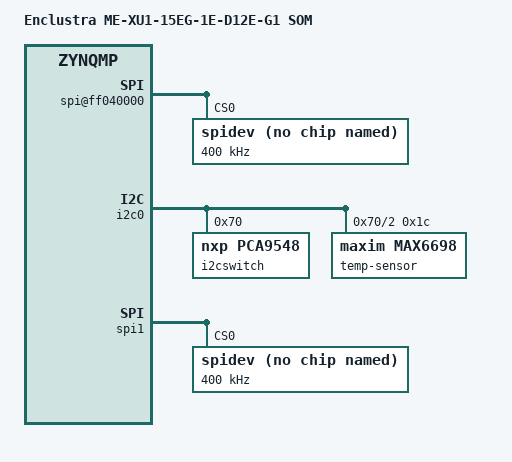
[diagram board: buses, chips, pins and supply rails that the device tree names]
/include/ "system-conf.dtsi"
/ {
	model = "Enclustra ME-XU1-15EG-1E-D12E-G1 SOM";
	aliases {
		spi2 = "/amba/spi@ff040000";
	};
};
#include "zynqmp_enclustra_common.dtsi"
#include "zynqmp_enclustra_mercury_st1.dtsi"
#include "zynqmp_enclustra_mercury_xu1.dtsi"

/ {
	amba {
           spi@ff040000 {
            spidev@0 {
				compatible = "spidev";
				reg = <0>;
				//spi-cs-high;
				spi-max-frequency = <400000>;
    		};
        };
	};
};

&i2c0 {
	i2cswitch@70 {
		    	compatible = "nxp,pca9548";
			 	#address-cells = <1>;
		    	#size-cells = <0>;
		        reg = <0x70>;
				i2c@0{
					#address-cells = <1>;
					#size-cells = <0>;
					reg = <0>;
					// ina226@40 {
					// 	compatible = "ti,ina226";
					// 	reg = <0x40>;
					// 	shunt-resistor = <5000>;
					// 	};
					// ina226@44 {
					// 	compatible = "ti,ina226";
					// 	reg = <0x44>;
					// 	shunt-resistor = <5000>;
					// 	};
					// ina226@41 {
					// 	compatible = "ti,ina226";
					// 	reg = <0x41>;
					// 	shunt-resistor = <1000>;
					// 	};
					// ina226@45 {
					// 	compatible = "ti,ina226";
					// 	reg = <0x45>;
					// 	shunt-resistor = <1000>;
					// 	};
				};
				i2c@2{
					#address-cells = <1>;
					#size-cells = <0>;
					reg = <2>;
					temp-sensor@1c {
						compatible = "maxim,max6698";
						reg = <0x1c>;
						smbus-timeout-disable;
						resistance-cancellation;
						alert-mask = <0x72>;
						over-temperature-mask = <0x7f>;
					};
				};
	};
};


&spi1 { 
        spidev@0 {
            compatible = "spidev";
            reg = <0>;
			//spi-cs-high;
            spi-max-frequency = <400000>;
    };
};

&debug_bridge_0 {
        compatible = "xlnx,xvc";
};
// /{
// 	reserved-memory {
//       #address-cells = <1>;
//       #size-cells = <1>;
//       ranges;
  
//       reserved: axilite@80000000{
// 		compatible = "shared-dma-pool";
// 		no-map;
//         reg = <0x80000000 0x00001000>;
// 		linux,cma-default;
//       };
//    };
//};
